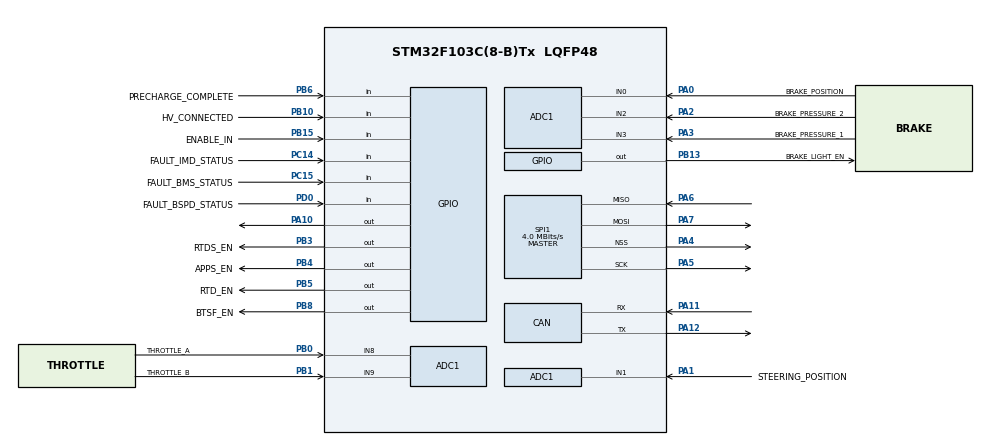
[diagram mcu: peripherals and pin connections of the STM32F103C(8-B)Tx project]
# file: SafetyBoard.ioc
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ADC1.Channel-3\#ChannelRegularConversion=ADC_CHANNEL_0
ADC1.NbrOfConversionFlag=1
ADC1.Rank-3\#ChannelRegularConversion=1
ADC1.SamplingTime-3\#ChannelRegularConversion=ADC_SAMPLETIME_1CYCLE_5
ADC1.master=1
CAN.CalculateTimeBit=6000
CAN.CalculateTimeQuantum=2000.0
Mcu.Family=STM32F1
Mcu.Name=STM32F103C(8-B)Tx
Mcu.Package=LQFP48
NVIC.ADC1_2_IRQn=true\:0\:0\:false\:false\:true\:true\:true
NVIC.PriorityGroup=NVIC_PRIORITYGROUP_4
NVIC.USB_LP_CAN1_RX0_IRQn=true\:0\:0\:false\:false\:true\:true\:true
PA0-WKUP.GPIO_Label=BRAKE_POSITION
PA0-WKUP.Signal=ADCx_IN0
PA1.GPIO_Label=STEERING_POSITION
PA1.Signal=ADCx_IN1
PA10.Signal=GPIO_Output
PA11.Mode=Master
PA11.Signal=CAN_RX
PA12.Mode=Master
PA12.Signal=CAN_TX
PA2.GPIO_Label=BRAKE_PRESSURE_2
PA2.Signal=ADCx_IN2
PA3.GPIO_Label=BRAKE_PRESSURE_1
PA3.Signal=ADCx_IN3
PA4.Mode=NSS_Signal_Hard_Output
PA4.Signal=SPI1_NSS
PA5.Mode=Full_Duplex_Master
PA5.Signal=SPI1_SCK
PA6.Mode=Full_Duplex_Master
PA6.Signal=SPI1_MISO
PA7.Mode=Full_Duplex_Master
PA7.Signal=SPI1_MOSI
PB0.GPIO_Label=THROTTLE_A
PB0.Signal=ADCx_IN8
PB1.GPIO_Label=THROTTLE_B
PB1.Signal=ADCx_IN9
PB10.GPIO_Label=HV_CONNECTED
PB10.Signal=GPIO_Input
PB13.GPIO_Label=BRAKE_LIGHT_EN
PB13.Signal=GPIO_Output
PB15.GPIO_Label=ENABLE_IN
PB15.Signal=GPIO_Input
PB3.GPIO_Label=RTDS_EN
PB3.Signal=GPIO_Output
PB4.GPIO_Label=APPS_EN
PB4.Signal=GPIO_Output
PB5.GPIO_Label=RTD_EN
PB5.Signal=GPIO_Output
PB6.GPIO_Label=PRECHARGE_COMPLETE
PB6.Signal=GPIO_Input
PB8.GPIO_Label=BTSF_EN
PB8.Signal=GPIO_Output
PC14-OSC32_IN.GPIO_Label=FAULT_IMD_STATUS
PC14-OSC32_IN.Signal=GPIO_Input
PC15-OSC32_OUT.GPIO_Label=FAULT_BMS_STATUS
PC15-OSC32_OUT.Signal=GPIO_Input
PD0-OSC_IN.GPIO_Label=FAULT_BSPD_STATUS
PD0-OSC_IN.Signal=GPIO_Input
ProjectManager.HeapSize=0x200
ProjectManager.StackSize=0x400
ProjectManager.TargetToolchain=Makefile
RCC.APB1Freq_Value=8000000
RCC.APB2Freq_Value=8000000
SH.ADCx_IN0.0=ADC1_IN0,IN0
SH.ADCx_IN1.0=ADC1_IN1,IN1
SH.ADCx_IN2.0=ADC1_IN2,IN2
SH.ADCx_IN3.0=ADC1_IN3,IN3
SH.ADCx_IN8.0=ADC1_IN8,IN8
SH.ADCx_IN9.0=ADC1_IN9,IN9
SPI1.CalculateBaudRate=4.0 MBits/s
SPI1.Direction=SPI_DIRECTION_2LINES
SPI1.Mode=SPI_MODE_MASTER
SPI1.VirtualNSS=VM_NSSHARD
SPI1.VirtualType=VM_MASTER
VP_SYS_VS_ND.Mode=No_Debug
board=custom

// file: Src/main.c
/* USER CODE BEGIN Header */
/**
  ******************************************************************************
  * @file           : main.c
  * @brief          : Main program body
  ******************************************************************************
  ** This notice applies to any and all portions of this file
  * that are not between comment pairs USER CODE BEGIN and
  * USER CODE END. Other portions of this file, whether
  * inserted by the user or by software development tools
  * are owned by their respective copyright owners.
  *
  * COPYRIGHT(c) 2019 STMicroelectronics
  *
  * Redistribution and use in source and binary forms, with or without modification,
  * are permitted provided that the following conditions are met:
  *   1. Redistributions of source code must retain the above copyright notice,
  *      this list of conditions and the following disclaimer.
  *   2. Redistributions in binary form must reproduce the above copyright notice,
  *      this list of conditions and the following disclaimer in the documentation
  *      and/or other materials provided with the distribution.
  *   3. Neither the name of STMicroelectronics nor the names of its contributors
  *      may be used to endorse or promote products derived from this software
  *      without specific prior written permission.
  *
  * THIS SOFTWARE IS PROVIDED BY THE COPYRIGHT HOLDERS AND CONTRIBUTORS "AS IS"
  * AND ANY EXPRESS OR IMPLIED WARRANTIES, INCLUDING, BUT NOT LIMITED TO, THE
  * IMPLIED WARRANTIES OF MERCHANTABILITY AND FITNESS FOR A PARTICULAR PURPOSE ARE
  * DISCLAIMED. IN NO EVENT SHALL THE COPYRIGHT HOLDER OR CONTRIBUTORS BE LIABLE
  * FOR ANY DIRECT, INDIRECT, INCIDENTAL, SPECIAL, EXEMPLARY, OR CONSEQUENTIAL
  * DAMAGES (INCLUDING, BUT NOT LIMITED TO, PROCUREMENT OF SUBSTITUTE GOODS OR
  * SERVICES; LOSS OF USE, DATA, OR PROFITS; OR BUSINESS INTERRUPTION) HOWEVER
  * CAUSED AND ON ANY THEORY OF LIABILITY, WHETHER IN CONTRACT, STRICT LIABILITY,
  * OR TORT (INCLUDING NEGLIGENCE OR OTHERWISE) ARISING IN ANY WAY OUT OF THE USE
  * OF THIS SOFTWARE, EVEN IF ADVISED OF THE POSSIBILITY OF SUCH DAMAGE.
  *
  ******************************************************************************
  */

/* USER CODE END Header */

#include "main.h"

/* USER CODE BEGIN Includes */
#include "stdlib.h"

/* USER CODE END Includes */

/* USER CODE BEGIN PD */

#define APPS_STDID        0x300
#define BTSF_STDID        0x301
#define FAULTS            0x0D0
// FAULT DEFS
  #define FAULT_ACTIVE    0xFF
  #define FAULT_INACTIVE  0x00

//FAULT DEGS
#define CAR_STATE         0x0D1
// CAR STATES
  #define LV_ON           0x01
  #define PRECHARGED      0x02
  #define ENABLE_FLIPPED  0x04
  #define RTDS_SOUND      0x08
  #define PWR_AVAILABLE   0x10
  #define SOFT_FAULT      0x20
// CAR STATES
// 1 volt is 1241.21
//throttle A .66-3.2 scaled to .396-1.866
//throttle B .33-2.7 scaled to .198-1.62
// That means 5% from 0 is .4705 volts
const uint16_t ThrottleA_5 = 584;
// That means 25% from 0 is .7635 volts
const uint16_t ThrottleA_25 = 947;
const uint16_t brakeThreshold = 2606; //80; >> 3.5 volts on 5 v scale, 2.1 on 3.3v scale
const uint16_t RTD_Threshold = 2000; // NO idea for this

// APPS is .35 volts, so .21 volts scaled
const int APPS_difference = 240; //This corresponds to  400 non-scaled

//These are based off above values measured

/*
//NON-SCALED
//A: 0.71 to 3.0 volts
//B: 0.4 to 2.7 volts
const int throttle_A_min = 881; //491 scaled
const int throttle_A_max = 3723; //2316
const int throttle_B_min = 496; //246
const int throttle_B_max = 3350; //2010 scaled
const int throttle_min_APPS = 125;
const int throttle_max_APPS = 4500;
const int throttleA_to_B_offset = 370;
*/

//SCALED (x0.6)
//A: 0.71 to 3.0 volts
//B: 0.4 to 2.7 volts
const int throttle_A_min = 529;
const int throttle_A_max = 2234;
const int throttle_B_min = 298;
const int throttle_B_max = 2010;
const int throttle_min_APPS = 100;
const int throttle_max_APPS = 2700;
const int throttleA_to_B_offset = 222;

/* USER CODE END PD */

ADC_HandleTypeDef hadc1;

CAN_HandleTypeDef hcan;

SPI_HandleTypeDef hspi1;

/* USER CODE BEGIN PV */

uint16_t brakePos;
uint16_t steeringPos;
uint16_t brakePressure_1;
uint16_t brakePressure_2;
uint16_t throttle_A;
uint16_t throttle_B;

//need to figure out:
uint16_t max_throttle = 10;

//STATE FLAGS
char Prev_State = 0x00;     //boolean
int hardFaultFlag = 0;  //boolean
char BTSF_ACTIVE = 0x00;

// CAR STAT STATES FOR CAN
CAN_TxHeaderTypeDef TxCar_state;
uint8_t TxCar_state_data[1] = {0x00};
uint32_t TxCar_stateMailbox;

//CAN FAULT VARIABLES
CAN_TxHeaderTypeDef TxFaults;
uint8_t TxFault_data[4] = {0x55, 0x55, 0x55, 0x55};
/*Set these values: 0xFF = Fault present
                    0x00 = No fault*/
uint8_t bms;        //TxData[0]
uint8_t imd;        //TxData[1]
uint8_t bspd;       //TxData[2]
uint8_t apps;       //TxData[3]
uint32_t TxFaultsMailbox;

//For Timers
extern uint32_t millisTimer;
extern uint32_t RTDS_Timer;
extern uint32_t CAN_Timer;

ADC_ChannelConfTypeDef sConfig = {0};
/* USER CODE END PV */

void SystemClock_Config(void);
static void MX_GPIO_Init(void);
static void MX_SPI1_Init(void);
static void MX_ADC1_Init(void);
static void MX_CAN_Init(void);
/* USER CODE BEGIN PFP */

char checkBTSF();
char checkAPPS();
char APPS_Diff();
void sendFaultMsg();
void sendCar_state();
void readFaults();
void car_state_machine(char STATE);
uint16_t updateADC(int channel);
/* USER CODE END PFP */

/* USER CODE BEGIN 0 */

//int refTime = millis();
//int APPSFlag = 0; //boolean

/**
  * @brief  The application entry point.
  * @retval int
  */
int main(void)
{
  /* USER CODE BEGIN 1 */
  //HAL_GPIO_TogglePin(GPIOC, GPIO_PIN_13);
  //HAL_Delay(200);

  //For Timers
  millisTimer = 100; //100 millis
  RTDS_Timer = 3000; //3 seconds
  CAN_Timer = 1000; //timer to send message every second

  /* USER CODE END 1 */

  /* MCU Configuration--------------------------------------------------------*/

  /* Reset of all peripherals, Initializes the Flash interface and the Systick. */
  HAL_Init();

  /* USER CODE BEGIN Init */

  // Update SystemCoreClock value
  SystemCoreClockUpdate();
  // Configure the SysTick timer to overflow every 1 ms
  SysTick_Config(SystemCoreClock / 1000);

  /* USER CODE END Init */

  /* Configure the system clock */
  SystemClock_Config();

  /* USER CODE BEGIN SysInit */

  /* USER CODE END SysInit */

  /* Initialize all configured peripherals */
  MX_GPIO_Init();
  MX_SPI1_Init();
  MX_ADC1_Init();
  MX_CAN_Init();
  /* USER CODE BEGIN 2 */
  HAL_CAN_Start(&hcan);

  HAL_ADCEx_Calibration_Start(&hadc1);

  /* USER CODE END 2 */

  /* Infinite loop */
  /* USER CODE BEGIN WHILE */

  /*

  while (1)
  {
    //READ FOR PRECHARGE
  if(HAL_GPIO_ReadPin(GPIOB, PRECHARGE_COMPLETE_Pin) == GPIO_PIN_RESET){
    car_state_machine(PRECHARGED);
    //HAL_GPIO_WritePin(BRAKE_LIGHT_EN_GPIO_Port, BRAKE_LIGHT_EN_Pin, GPIO_PIN_SET);

      //READ FOR ENABLE
    if(HAL_GPIO_ReadPin(GPIOB,ENABLE_IN_Pin) == GPIO_PIN_RESET){
      car_state_machine(ENABLE_FLIPPED);
      //ADC for Brake pressure
      brakePressure_2 = updateADC(BRAKE_PRESSURE_2_ADC_CHANNEL);

      //SEE IF BRAKE IS PRESSED
      if(brakePressure_1 >= brakeThreshold){
      //set 3 second timer
       if(TxCar_state_data[0] == ENABLE_FLIPPED) {
        RTDS_Timer = 3000; //change to 3000 for 3 seconds
        car_state_machine(RTDS_SOUND);
        HAL_GPIO_WritePin(GPIOB, RTD_EN_Pin | RTDS_EN_Pin | BTSF_EN_Pin | APPS_EN_Pin, GPIO_PIN_SET);
        }
      //RTD Sound Enable Play sound for 2.5 seconds
      }

      // IF OUR TIMER IS OVER FINALLY //we also stop timer if we started it from RTDS state or Soft fault state
        if((RTDS_Timer == 0) && (TxCar_state_data[0] & 0x38)){
          HAL_GPIO_WritePin(GPIOB, RTDS_EN_Pin, GPIO_PIN_RESET);
          //SeT pwr
          car_state_machine(PWR_AVAILABLE);

        }// rtds buzzer stop
    }//END OF RTD SEQUENCE
  } // of start up sequence

    // SEQUENCE FOR CHECKING SOFT FAULTS
    if(TxCar_state_data[0] >= RTDS_SOUND){
    if (checkBTSF() || checkAPPS()){
      HAL_GPIO_WritePin(GPIOB,BTSF_EN_Pin | APPS_EN_Pin,GPIO_PIN_RESET);
      TxCar_state_data[0] = SOFT_FAULT;
    }
    else if(TxCar_state_data[0] == SOFT_FAULT) {
        TxCar_state_data[0] = PWR_AVAILABLE;
        HAL_GPIO_WritePin(GPIOB, BTSF_EN_Pin|APPS_EN_Pin ,GPIO_PIN_SET);
    }
  }
    readFaults();

  if (CAN_Timer == 0){ //sending routine message every 1 second
    sendFaultMsg();
    sendCar_state();
    CAN_Timer = 1000;
    //HAL_GPIO_WritePin(BRAKE_LIGHT_EN_GPIO_Port, BRAKE_LIGHT_EN_Pin, GPIO_PIN_SET);

  }

  //Brake Light
  brakePressure_2 = updateADC(BRAKE_PRESSURE_2_ADC_CHANNEL);
  if(brakePressure_2 > brakeThreshold){
    HAL_GPIO_WritePin(BRAKE_LIGHT_EN_GPIO_Port, BRAKE_LIGHT_EN_Pin, GPIO_PIN_SET);
  }
  else
    HAL_GPIO_WritePin(BRAKE_LIGHT_EN_GPIO_Port, BRAKE_LIGHT_EN_Pin, GPIO_PIN_RESET);

    /* USER CODE END WHILE */

    /* USER CODE BEGIN 3 */
  //}
  /* USER CODE END 3 */

  //TEST WHILE
 while(1){

    checkAPPS();
  }

}

/********************************************************************************/
//Checks for APPS errors, sends fault if there is one
//Returns one if difference in throttleA/B is greater than 10% for 100 ms
//Returns zero if else
/********************************************************************************/
char checkAPPS(){

  throttle_A = updateADC(THROTTLE_A_ADC_CHANNEL);
  throttle_B = updateADC(THROTTLE_B_ADC_CHANNEL);

/*
  if(throttle_A > throttle_B){
    HAL_GPIO_WritePin(GPIOB, GPIO_PIN_5, GPIO_PIN_SET);
    HAL_Delay(100);
  }
  else
    HAL_GPIO_WritePin(GPIOB, GPIO_PIN_5, GPIO_PIN_RESET);
  return 1;*/

  //Throttles Agree
  if(APPS_Diff() == 0){
   millisTimer = 100;
   HAL_GPIO_WritePin(GPIOB, GPIO_PIN_5, GPIO_PIN_RESET);
  }

  //APPS_EN Fault
  if(millisTimer == 0){ //this occurs when APPS_diff is true for > 100 ms
    HAL_GPIO_WritePin(GPIOB, GPIO_PIN_5, GPIO_PIN_SET);
    return 1; //will set driving = 0;
  }
  return 0; //APPS is good

}

/********************************************************************************/
//Checks for BTSF errors, If the brake and throttle are pressed at the same time, above a certain threshold
//Returns one if fault was sensed and sent out
//zero if nothing is detected
/********************************************************************************/
char checkBTSF(){
  brakePressure_2 = updateADC(BRAKE_PRESSURE_2_ADC_CHANNEL);
  throttle_A = updateADC(THROTTLE_A_ADC_CHANNEL);

  if(BTSF_ACTIVE)
  {
    if(throttle_A <= ThrottleA_5)
    {
      BTSF_ACTIVE = 0x00;
      //HAL_GPIO_WritePin(GPIOB, GPIO_PIN_5, GPIO_PIN_RESET);
      return 0;
    }
    return 1;
  }

  if((brakePressure_2 > brakeThreshold) && (throttle_A > ThrottleA_25)){
       //HAL_GPIO_WritePin(GPIOB, GPIO_PIN_5, GPIO_PIN_SET);
       BTSF_ACTIVE = 0xFF;
       return 1;
  }

  return 0;
}

/********************************************************************************/
// This function updates the ADC values for all positions/pressures
//
//
/********************************************************************************/
uint16_t updateADC(int channel){
  //HAL_GPIO_WritePin(GPIOC, GPIO_PIN_13, GPIO_PIN_RESET);
  if (channel == BRAKE_POS_ADC_CHANNEL) //Brake position
    sConfig.Channel = ADC_CHANNEL_0;
  if (channel == STEERING_POS_ADC_CHANNEL) //steering position
    sConfig.Channel = ADC_CHANNEL_1;
  if (channel == BRAKE_PRESSURE_1_ADC_CHANNEL) //brake pressure 1
    sConfig.Channel = ADC_CHANNEL_2;
  if (channel == BRAKE_PRESSURE_2_ADC_CHANNEL) //brake pressure 2
    sConfig.Channel = ADC_CHANNEL_3;
  if (channel == THROTTLE_A_ADC_CHANNEL) //throttle A
    sConfig.Channel = ADC_CHANNEL_8;
  if (channel == THROTTLE_B_ADC_CHANNEL) //throttle B
    sConfig.Channel = ADC_CHANNEL_9;

  sConfig.Rank = ADC_REGULAR_RANK_1;
  sConfig.SamplingTime = ADC_SAMPLETIME_71CYCLES_5;
  HAL_ADC_ConfigChannel(&hadc1, &sConfig);

  HAL_ADC_Start(&hadc1);
  HAL_ADC_PollForConversion(&hadc1, 1000);
  return HAL_ADC_GetValue(&hadc1);
  //HAL_ADC_Stop(&hadc1);
  //////////////////////////////////////////////////////////////
  /*
  HAL_ADC_Start(&hadc1);

  HAL_ADC_PollForConversion(&hadc1, 1000);
  brakePos = HAL_ADC_GetValue(&hadc1);  //brakePos
  HAL_ADC_PollForConversion(&hadc1, 1000);
  steeringPos = HAL_ADC_GetValue(&hadc1);  //steeringPos
  HAL_ADC_PollForConversion(&hadc1, 1000);
  brakePressure_1 = HAL_ADC_GetValue(&hadc1);  //brakePressure_1
  HAL_ADC_PollForConversion(&hadc1, 1000);
  brakePressure_2 = HAL_ADC_GetValue(&hadc1);  //brakePressure_2
  HAL_ADC_PollForConversion(&hadc1, 1000);
  throttle_A = HAL_ADC_GetValue(&hadc1);  //throttle_A
  HAL_ADC_PollForConversion(&hadc1, 1000);
  throttle_B = HAL_ADC_GetValue(&hadc1);  //throttle_B

  HAL_ADC_Stop(&hadc1);
  */
}

/********************************************************************************/
//Determines if the throttle percent difference is above 10%
//Returns: 1 if difference > 10%
//       0 if everything is good
//
//Throttle_A will get values 491 to 2316 (throttle_A_min to max)
//Throttle_B will get values 246 to 2010 (throttle_B_min to max)
/********************************************************************************/
char APPS_Diff(){

 int t_A = throttle_A;
 int t_B = throttle_B;

 //Fault if throttles are too low or too high
 if(t_A < throttle_min_APPS || t_A > throttle_max_APPS){
  return 1;
 }
 if(t_B < throttle_min_APPS || t_B > throttle_max_APPS){
  return 1;
 }

 t_A -= throttleA_to_B_offset;

  if(abs(t_A - t_B) > APPS_difference){ //600 ~ 0.5v
    return 1;
  }
  else return 0;

/*
  t_A = (t_A - throttle_A_min)/(throttle_A_max - throttle_A_min); //Normalize both values to be 0-100
  t_B = (t_B - throttle_B_min)/(throttle_B_max - throttle_B_min);

  if(abs(t_A-t_B) > APPS_difference) //10
    return 1;
  else
    return 0;
*/

}
void sendFaultMsg(){
  TxFault_data[0] = bms;  //Set all the data (faults) to their current values
  TxFault_data[1] = imd;
  TxFault_data[2] = bspd;
  TxFault_data[3] = apps;
  HAL_CAN_AddTxMessage(&hcan, &TxFaults, TxFault_data, &TxFaultsMailbox);
}

void sendCar_state(){
  HAL_CAN_AddTxMessage(&hcan, &TxCar_state,TxCar_state_data, &TxCar_stateMailbox);
}

void car_state_machine(char STATE)
{
  if(STATE > TxCar_state_data[0])
  {
    TxCar_state_data[0] = STATE;
  }
}

void readFaults(){
  if (HAL_GPIO_ReadPin(GPIOD, FAULT_BSPD_STATUS_Pin) == GPIO_PIN_RESET)
    bspd = FAULT_ACTIVE;
  else bspd = FAULT_INACTIVE;

  if (HAL_GPIO_ReadPin(GPIOC, FAULT_IMD_STATUS_Pin) == GPIO_PIN_RESET)
    imd = FAULT_ACTIVE;
  else imd = FAULT_INACTIVE;

  if (HAL_GPIO_ReadPin(GPIOC, FAULT_BMS_STATUS_Pin) == GPIO_PIN_RESET)
    bms = FAULT_ACTIVE;
  else bms = FAULT_INACTIVE;

  if(bms || imd || bspd){
    TxCar_state_data[0] = LV_ON;
    HAL_GPIO_WritePin(GPIOB, RTD_EN_Pin | RTDS_EN_Pin, GPIO_PIN_RESET);
  }

}

/* USER CODE END 0 */

void SystemClock_Config(void)
{
  RCC_OscInitTypeDef RCC_OscInitStruct = {0};
  RCC_ClkInitTypeDef RCC_ClkInitStruct = {0};
  RCC_PeriphCLKInitTypeDef PeriphClkInit = {0};

  /** Initializes the CPU, AHB and APB busses clocks
  */
  RCC_OscInitStruct.OscillatorType = RCC_OSCILLATORTYPE_HSI;
  RCC_OscInitStruct.HSIState = RCC_HSI_ON;
  RCC_OscInitStruct.HSICalibrationValue = RCC_HSICALIBRATION_DEFAULT;
  RCC_OscInitStruct.PLL.PLLState = RCC_PLL_NONE;
  if (HAL_RCC_OscConfig(&RCC_OscInitStruct) != HAL_OK)
  {
    Error_Handler();
  }
  /** Initializes the CPU, AHB and APB busses clocks
  */
  RCC_ClkInitStruct.ClockType = RCC_CLOCKTYPE_HCLK|RCC_CLOCKTYPE_SYSCLK
                              |RCC_CLOCKTYPE_PCLK1|RCC_CLOCKTYPE_PCLK2;
  RCC_ClkInitStruct.SYSCLKSource = RCC_SYSCLKSOURCE_HSI;
  RCC_ClkInitStruct.AHBCLKDivider = RCC_SYSCLK_DIV1;
  RCC_ClkInitStruct.APB1CLKDivider = RCC_HCLK_DIV1;
  RCC_ClkInitStruct.APB2CLKDivider = RCC_HCLK_DIV1;

  if (HAL_RCC_ClockConfig(&RCC_ClkInitStruct, FLASH_LATENCY_0) != HAL_OK)
  {
    Error_Handler();
  }
  PeriphClkInit.PeriphClockSelection = RCC_PERIPHCLK_ADC;
  PeriphClkInit.AdcClockSelection = RCC_ADCPCLK2_DIV2;
  if (HAL_RCCEx_PeriphCLKConfig(&PeriphClkInit) != HAL_OK)
  {
    Error_Handler();
  }
}

static void MX_ADC1_Init(void)
{

  /**Common config
  */
  hadc1.Instance = ADC1;
  hadc1.Init.ScanConvMode = DISABLE; //enable
  hadc1.Init.ContinuousConvMode = DISABLE; //enable
  hadc1.Init.DiscontinuousConvMode = DISABLE;
  hadc1.Init.ExternalTrigConv = ADC_SOFTWARE_START;
  hadc1.Init.DataAlign = ADC_DATAALIGN_RIGHT;
  hadc1.Init.NbrOfConversion = 6;
  if (HAL_ADC_Init(&hadc1) != HAL_OK)
  {
    Error_Handler();
  }
  /**Configure Regular Channel
  */
  //Brake position
  sConfig.Channel = ADC_CHANNEL_0;
  sConfig.Rank = ADC_REGULAR_RANK_1;
  sConfig.SamplingTime = ADC_SAMPLETIME_1CYCLE_5;
  if (HAL_ADC_ConfigChannel(&hadc1, &sConfig) != HAL_OK)
  {
    Error_Handler();
  }
  /* USER CODE BEGIN ADC1_Init 2 */

  //Steering Position
  sConfig.Channel = ADC_CHANNEL_1;
  sConfig.Rank = ADC_REGULAR_RANK_2;
  HAL_ADC_ConfigChannel(&hadc1, &sConfig);
  if (HAL_ADC_ConfigChannel(&hadc1, &sConfig) != HAL_OK){
    Error_Handler();
  }

  //Brake Pressure 1
  sConfig.Channel = ADC_CHANNEL_3;
  sConfig.Rank = ADC_REGULAR_RANK_3;
  HAL_ADC_ConfigChannel(&hadc1, &sConfig);
  if (HAL_ADC_ConfigChannel(&hadc1, &sConfig) != HAL_OK){
    Error_Handler();
  }

  //Brake Pressure 2
  sConfig.Channel = ADC_CHANNEL_2;
  sConfig.Rank = ADC_REGULAR_RANK_4;
  HAL_ADC_ConfigChannel(&hadc1, &sConfig);
  if (HAL_ADC_ConfigChannel(&hadc1, &sConfig) != HAL_OK){
    Error_Handler();
  }

  //ADC for throttle_A
  sConfig.Channel = ADC_CHANNEL_8;
  sConfig.Rank = ADC_REGULAR_RANK_5;
  HAL_ADC_ConfigChannel(&hadc1, &sConfig);
  if (HAL_ADC_ConfigChannel(&hadc1, &sConfig) != HAL_OK){
    Error_Handler();
  }

  //ADC for throttle_B
  sConfig.Channel = ADC_CHANNEL_9;
  sConfig.Rank = ADC_REGULAR_RANK_6;
  HAL_ADC_ConfigChannel(&hadc1, &sConfig);
  if (HAL_ADC_ConfigChannel(&hadc1, &sConfig) != HAL_OK){
    Error_Handler();
  }
  /* USER CODE END ADC1_Init 2 */

}

static void MX_CAN_Init(void)
{

  hcan.Instance = CAN1;
  hcan.Init.Prescaler = 2;
  hcan.Init.Mode = CAN_MODE_NORMAL;
  hcan.Init.SyncJumpWidth = CAN_SJW_1TQ;
  hcan.Init.TimeSeg1 = CAN_BS1_3TQ;
  hcan.Init.TimeSeg2 = CAN_BS2_4TQ;
  hcan.Init.TimeTriggeredMode = DISABLE;
  hcan.Init.AutoBusOff = DISABLE;
  hcan.Init.AutoWakeUp = DISABLE;
  hcan.Init.AutoRetransmission = DISABLE;
  hcan.Init.ReceiveFifoLocked = DISABLE;
  hcan.Init.TransmitFifoPriority = DISABLE;

  if (HAL_CAN_Init(&hcan) != HAL_OK)
  {
    Error_Handler();
  }

    /* USER CODE BEGIN CAN_Init 1 */
 // HAL_CAN_Start(&hcan);
  TxFaults.StdId = FAULTS;         // CAN standard ID
  TxFaults.ExtId = 0x01;          // CAN extended ID
  TxFaults.RTR = CAN_RTR_DATA;      // CAN frame type
  TxFaults.IDE = CAN_ID_STD;        // CAN ID type
  TxFaults.DLC = 8;             // CAN frame length in bytes
  TxFaults.TransmitGlobalTime = DISABLE;  // CAN timestamp in TxData[6] and TxData[7]

  TxCar_state.StdId = CAR_STATE;         // CAN standard ID
  TxCar_state.ExtId = 0x01;          // CAN extended ID
  TxCar_state.RTR = CAN_RTR_DATA;      // CAN frame type
  TxCar_state.IDE = CAN_ID_STD;        // CAN ID type
  TxCar_state.DLC = 1;             // CAN frame length in bytes
  TxCar_state.TransmitGlobalTime = DISABLE;

  /* USER CODE END CAN_Init 1 */
  /* USER CODE END CAN_Init 2 */

}

static void MX_SPI1_Init(void)
{

  /* SPI1 parameter configuration*/
  hspi1.Instance = SPI1;
  hspi1.Init.Mode = SPI_MODE_MASTER;
  hspi1.Init.Direction = SPI_DIRECTION_2LINES;
  hspi1.Init.DataSize = SPI_DATASIZE_8BIT;
  hspi1.Init.CLKPolarity = SPI_POLARITY_LOW;
  hspi1.Init.CLKPhase = SPI_PHASE_1EDGE;
  hspi1.Init.NSS = SPI_NSS_HARD_OUTPUT;
  hspi1.Init.BaudRatePrescaler = SPI_BAUDRATEPRESCALER_2;
  hspi1.Init.FirstBit = SPI_FIRSTBIT_MSB;
  hspi1.Init.TIMode = SPI_TIMODE_DISABLE;
  hspi1.Init.CRCCalculation = SPI_CRCCALCULATION_DISABLE;
  hspi1.Init.CRCPolynomial = 10;
  if (HAL_SPI_Init(&hspi1) != HAL_OK)
  {
    Error_Handler();
  }

}

static void MX_GPIO_Init(void)
{
  GPIO_InitTypeDef GPIO_InitStruct = {0};

  /* GPIO Ports Clock Enable */
  __HAL_RCC_GPIOC_CLK_ENABLE();
  __HAL_RCC_GPIOD_CLK_ENABLE();
  __HAL_RCC_GPIOA_CLK_ENABLE();
  __HAL_RCC_GPIOB_CLK_ENABLE();

  /*Configure GPIO pin Output Level */
  HAL_GPIO_WritePin(GPIOB, BRAKE_LIGHT_EN_Pin|RTDS_EN_Pin|APPS_EN_Pin|RTD_EN_Pin
                          |BTSF_EN_Pin, GPIO_PIN_RESET);

  /*Configure GPIO pin Output Level */
  HAL_GPIO_WritePin(GPIOA, GPIO_PIN_10, GPIO_PIN_RESET);

  /*Configure GPIO pins : FAULT_IMD_STATUS_Pin FAULT_BMS_STATUS_Pin */
  GPIO_InitStruct.Pin = FAULT_IMD_STATUS_Pin|FAULT_BMS_STATUS_Pin;
  GPIO_InitStruct.Mode = GPIO_MODE_INPUT;
  GPIO_InitStruct.Pull = GPIO_NOPULL;
  HAL_GPIO_Init(GPIOC, &GPIO_InitStruct);

  /*Configure GPIO pin : FAULT_BSPD_STATUS_Pin */
  GPIO_InitStruct.Pin = FAULT_BSPD_STATUS_Pin;
  GPIO_InitStruct.Mode = GPIO_MODE_INPUT;
  GPIO_InitStruct.Pull = GPIO_NOPULL;
  HAL_GPIO_Init(FAULT_BSPD_STATUS_GPIO_Port, &GPIO_InitStruct);

  /*Configure GPIO pins : HV_CONNECTED_Pin ENABLE_IN_Pin PRECHARGE_COMPLETE_Pin */
  GPIO_InitStruct.Pin = HV_CONNECTED_Pin|ENABLE_IN_Pin|PRECHARGE_COMPLETE_Pin;
  GPIO_InitStruct.Mode = GPIO_MODE_INPUT;
  GPIO_InitStruct.Pull = GPIO_NOPULL;
  HAL_GPIO_Init(GPIOB, &GPIO_InitStruct);

  /*Configure GPIO pins : BRAKE_LIGHT_EN_Pin RTDS_EN_Pin APPS_EN_Pin RTD_EN_Pin
                           BTSF_EN_Pin */
  GPIO_InitStruct.Pin = BRAKE_LIGHT_EN_Pin|RTDS_EN_Pin|APPS_EN_Pin|RTD_EN_Pin
                          |BTSF_EN_Pin;
  GPIO_InitStruct.Mode = GPIO_MODE_OUTPUT_PP;
  GPIO_InitStruct.Pull = GPIO_NOPULL;
  GPIO_InitStruct.Speed = GPIO_SPEED_FREQ_LOW;
  HAL_GPIO_Init(GPIOB, &GPIO_InitStruct);

  /*Configure GPIO pin : PA10 */
  GPIO_InitStruct.Pin = GPIO_PIN_10;
  GPIO_InitStruct.Mode = GPIO_MODE_OUTPUT_PP;
  GPIO_InitStruct.Pull = GPIO_NOPULL;
  GPIO_InitStruct.Speed = GPIO_SPEED_FREQ_LOW;
  HAL_GPIO_Init(GPIOA, &GPIO_InitStruct);

  /*Configure peripheral I/O remapping */
  __HAL_AFIO_REMAP_PD01_ENABLE();

}

void Error_Handler(void)
{
}

/************************ (C) COPYRIGHT STMicroelectronics *****END OF FILE****/
